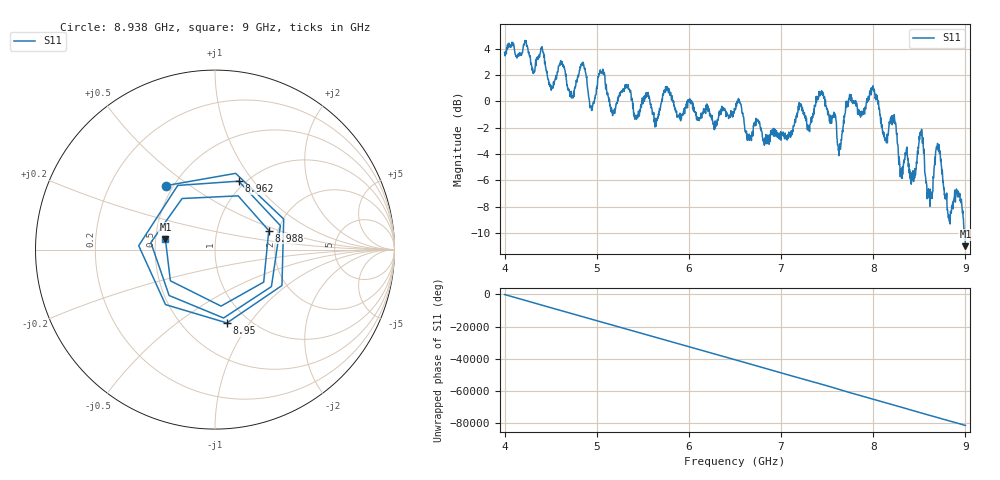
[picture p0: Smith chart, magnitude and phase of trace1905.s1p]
! Created with skrf 1.8.0 (http://scikit-rf.org).
# Hz S RI R 50.0
!freq ReS11 ImS11
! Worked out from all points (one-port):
!   1601 points, 4 GHz to 9 GHz, reference 50 ohm
!   lowest |S11| = -11.0 dB at 9 GHz (marker M1), VSWR 1.79, Z = 28.2 + j3.48 ohm
!   |S11| at or under -10 dB: 8.994106 GHz to end of sweep
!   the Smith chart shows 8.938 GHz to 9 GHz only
!   S11 on the Smith chart (normalised r, x): 8.938 GHz: 0.46, +0.41; 8.95 GHz: 0.80, -0.79; 8.962 GHz: 0.93, +0.85; 8.988 GHz: 1.79, +0.42; 9 GHz: 0.56, +0.07
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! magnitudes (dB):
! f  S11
! 4 GHz  3.7
! 4.406 GHz  4.2
! 4.503 GHz  1.0
! 4.625 GHz  3.0
! 4.728 GHz  0.4
! 4.853 GHz  2.9
! 4.944 GHz  -0.7
! 5.047 GHz  2.2
! 5.169 GHz  -0.7
! 5.25 GHz  0.7
! 5.875 GHz  -1.1
! 6.5 GHz  -0.6
! 7.125 GHz  -2.2
! 7.438 GHz  0.8
! 7.631 GHz  -3.8
! 7.75 GHz  0.2
! 8 GHz  1.1
! 8.375 GHz  -4.4
! 8.434 GHz  -5.6
! 8.519 GHz  -2.3
! 8.616 GHz  -8.0
! 8.703 GHz  -3.6
! 8.825 GHz  -9.1
! 8.938 GHz  -7.0
! 8.95 GHz  -7.7
! 8.962 GHz  -7.9
! 8.988 GHz  -10.0
! 9 GHz  -11.0
